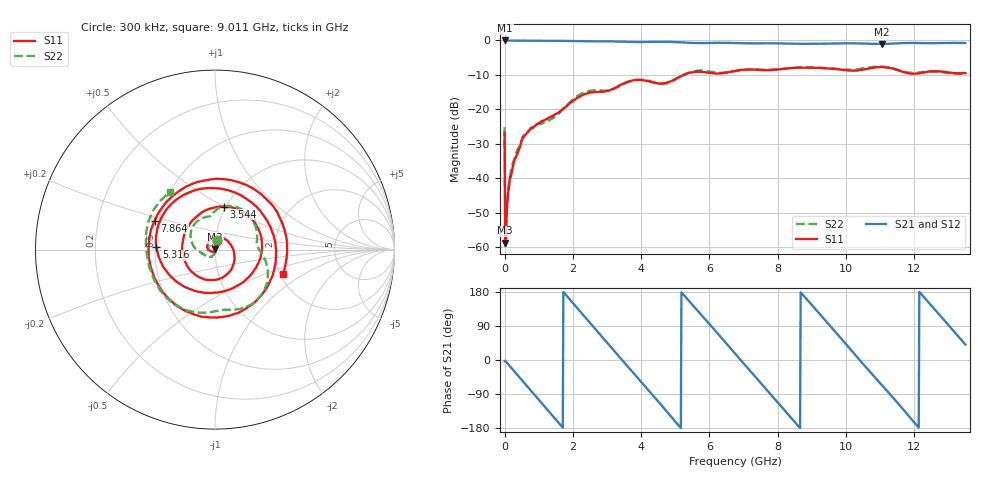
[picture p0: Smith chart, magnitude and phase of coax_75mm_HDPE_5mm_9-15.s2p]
!Agilent Technologies,N5230C,MY48100320,A.08.04.10
!Agilent N5230C: A.08.04.10
!Date: Thursday, September 15, 2016 22:12:58
!Correction: S11(Full 2 Port(1,2))
!S21(Full 2 Port(1,2))
!S12(Full 2 Port(1,2))
!S22(Full 2 Port(1,2))
!S2P File: Measurements: S11, S21, S12, S22:
# Hz S  dB  R 50
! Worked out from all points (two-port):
!   801 points, 300 kHz to 13.5 GHz, reference 50 ohm
!   highest |S21| = 0.00 dB at 17.17 MHz (marker M1); lowest = -1.0 dB at 11.05 GHz (marker M2)
!   |S21| within 3 dB of the highest: start of sweep to end of sweep
!   lowest |S11| = -58.6 dB at 17.17 MHz (marker M3), VSWR 1.00, Z = 50 + j0.116 ohm
!   |S11| at or under -10 dB: start of sweep to 5.245 GHz
!   |S22| runs from -59.6 to -7.6 dB; largest |S21 - S12| = 0.0042
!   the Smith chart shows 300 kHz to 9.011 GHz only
!   S11 on the Smith chart (normalised r, x): 300 kHz: 1.01, +0.09; 3.544 GHz: 0.98, +0.50; 5.316 GHz: 0.51, +0.02; 7.864 GHz: 0.48, +0.18; 9.011 GHz: 2.07, -0.68
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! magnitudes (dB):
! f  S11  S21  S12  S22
! 300 kHz  -26.7  -0.1  -0.1  -25.2
! 17.17 MHz  -58.6  0.0  0.0  -53.1
! 84.67 MHz  -46.3  0.0  0.0  -46.5
! 135.3 MHz  -42.0  0.0  0.0  -40.3
! 202.8 MHz  -38.5  0.0  0.0  -36.8
! 304 MHz  -34.3  0.0  0.0  -33.8
! 574 MHz  -27.9  -0.1  -0.1  -27.3
! 962.2 MHz  -24.2  -0.1  -0.1  -24.2
! 1.502 GHz  -21.3  -0.1  -0.1  -21.9
! 2.261 GHz  -15.9  -0.2  -0.2  -15.4
! 3.544 GHz  -12.2  -0.4  -0.4  -12.4
! 3.983 GHz  -11.5  -0.5  -0.4  -11.4
! 4.506 GHz  -12.5  -0.4  -0.4  -12.4
! 5.316 GHz  -9.7  -0.6  -0.6  -9.6
! 6.75 GHz  -8.8  -0.7  -0.8  -8.9
! 7.864 GHz  -8.6  -0.8  -0.8  -8.4
! 9.011 GHz  -7.9  -1.0  -1.0  -7.8
! 10.26 GHz  -8.7  -0.8  -0.8  -8.4
! 11.05 GHz  -7.7  -1.0  -1.0  -7.6
! 11.26 GHz  -7.9  -1.0  -0.9  -7.9
! 11.95 GHz  -9.6  -0.7  -0.7  -9.4
! 13.5 GHz  -9.5  -0.7  -0.7  -9.4
